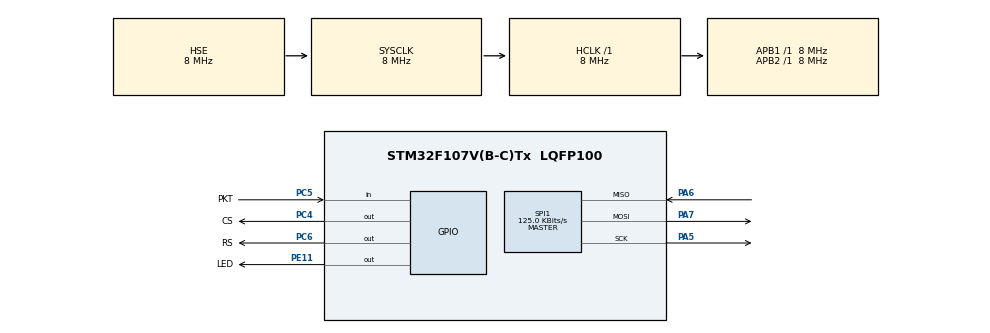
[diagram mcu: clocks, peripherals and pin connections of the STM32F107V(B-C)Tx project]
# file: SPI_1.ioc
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Mcu.Family=STM32F1
Mcu.Name=STM32F107V(B-C)Tx
Mcu.Package=LQFP100
NVIC.PriorityGroup=NVIC_PRIORITYGROUP_4
OSC_IN.Mode=HSE-External-Oscillator
OSC_IN.Signal=RCC_OSC_IN
OSC_OUT.Mode=HSE-External-Oscillator
OSC_OUT.Signal=RCC_OSC_OUT
PA13.Mode=Serial_Wire
PA13.Signal=SYS_JTMS-SWDIO
PA14.Mode=Serial_Wire
PA14.Signal=SYS_JTCK-SWCLK
PA5.Mode=Full_Duplex_Master
PA5.Signal=SPI1_SCK
PA6.Mode=Full_Duplex_Master
PA6.Signal=SPI1_MISO
PA7.Mode=Full_Duplex_Master
PA7.Signal=SPI1_MOSI
PC4.GPIO_Label=CS
PC4.GPIO_PuPd=GPIO_PULLUP
PC4.PinState=GPIO_PIN_SET
PC4.Signal=GPIO_Output
PC5.GPIO_Label=PKT
PC5.Signal=GPIO_Input
PC6.GPIO_Label=RS
PC6.PinState=GPIO_PIN_SET
PC6.Signal=GPIO_Output
PE11.GPIO_Label=LED
PE11.PinState=GPIO_PIN_RESET
PE11.Signal=GPIO_Output
ProjectManager.HeapSize=0x200
ProjectManager.StackSize=0x400
ProjectManager.TargetToolchain=STM32CubeIDE
RCC.AHBFreq_Value=8000000
RCC.APB1Freq_Value=8000000
RCC.APB1TimFreq_Value=8000000
RCC.APB2Freq_Value=8000000
RCC.APB2TimFreq_Value=8000000
RCC.HCLKFreq_Value=8000000
RCC.SYSCLKFreq_VALUE=8000000
RCC.SYSCLKSource=RCC_SYSCLKSOURCE_HSE
RCC.USBFreq_Value=10666666.666666666
SPI1.BaudRatePrescaler=SPI_BAUDRATEPRESCALER_64
SPI1.CLKPhase=SPI_PHASE_2EDGE
SPI1.CLKPolarity=SPI_POLARITY_HIGH
SPI1.CalculateBaudRate=125.0 KBits/s
SPI1.Direction=SPI_DIRECTION_2LINES
SPI1.Mode=SPI_MODE_MASTER
SPI1.VirtualType=VM_MASTER
board=custom

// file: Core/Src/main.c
/* USER CODE BEGIN Header */
/**
  ******************************************************************************
  * @file           : main.c
  * @brief          : Main program body
  ******************************************************************************
  * @attention
  *
  * <h2><center>&copy; Copyright (c) 2020 STMicroelectronics.
  * All rights reserved.</center></h2>
  *
  * This software component is licensed by ST under BSD 3-Clause license,
  * the "License"; You may not use this file except in compliance with the
  * License. You may obtain a copy of the License at:
  *                        opensource.org/licenses/BSD-3-Clause
  *
  ******************************************************************************
  */
/* USER CODE END Header */

#include "main.h"

SPI_HandleTypeDef hspi1;

/* USER CODE BEGIN PV */
uint16_t code;
/* USER CODE END PV */

void SystemClock_Config(void);
static void MX_GPIO_Init(void);
static void MX_SPI1_Init(void);
/* USER CODE BEGIN PFP */
void PL1167_Write(uint8_t address, uint16_t value);
int PL1167_Read(uint8_t address);
void PL1167_Init();
/* USER CODE END PFP */

int main(void)
{

  /* MCU Configuration--------------------------------------------------------*/

  /* Reset of all peripherals, Initializes the Flash interface and the Systick. */
  HAL_Init();

  /* Configure the system clock */
  SystemClock_Config();

  /* Initialize all configured peripherals */
  MX_GPIO_Init();
  MX_SPI1_Init();
  /* USER CODE BEGIN 2 */
 // PL1167_Init();

  HAL_GPIO_WritePin(RS_GPIO_Port, RS_Pin, GPIO_PIN_RESET);
  HAL_Delay(100);
  HAL_GPIO_WritePin(RS_GPIO_Port, RS_Pin, GPIO_PIN_SET);
  PL1167_Init();
  /* USER CODE END 2 */

  /* Infinite loop */
  /* USER CODE BEGIN WHILE */
  while (1)
  {
	  code = PL1167_Read(0x29);
//	  if(HAL_GPIO_ReadPin(PKT_GPIO_Port, PKT_Pin) == 1)
//	  {
//		  code = PL1167_Read(0x32);
//		  while(HAL_GPIO_ReadPin(PKT_GPIO_Port, PKT_Pin) == 1)
//		  {
//
//		  }
//	  }
	  if(code != 0)
	  {
		  HAL_GPIO_WritePin(LED_GPIO_Port, LED_Pin, GPIO_PIN_SET);
	  }
	  else HAL_GPIO_WritePin(LED_GPIO_Port, LED_Pin, GPIO_PIN_RESET);
    /* USER CODE END WHILE */

  }
}

void SystemClock_Config(void)
{
  RCC_OscInitTypeDef RCC_OscInitStruct = {0};
  RCC_ClkInitTypeDef RCC_ClkInitStruct = {0};

  /** Initializes the CPU, AHB and APB busses clocks
  */
  RCC_OscInitStruct.OscillatorType = RCC_OSCILLATORTYPE_HSE;
  RCC_OscInitStruct.HSEState = RCC_HSE_ON;
  RCC_OscInitStruct.PLL.PLLState = RCC_PLL_NONE;
  RCC_OscInitStruct.PLL2.PLL2State = RCC_PLL_NONE;
  if (HAL_RCC_OscConfig(&RCC_OscInitStruct) != HAL_OK)
  {
    Error_Handler();
  }
  /** Initializes the CPU, AHB and APB busses clocks
  */
  RCC_ClkInitStruct.ClockType = RCC_CLOCKTYPE_HCLK|RCC_CLOCKTYPE_SYSCLK
                              |RCC_CLOCKTYPE_PCLK1|RCC_CLOCKTYPE_PCLK2;
  RCC_ClkInitStruct.SYSCLKSource = RCC_SYSCLKSOURCE_HSE;
  RCC_ClkInitStruct.AHBCLKDivider = RCC_SYSCLK_DIV1;
  RCC_ClkInitStruct.APB1CLKDivider = RCC_HCLK_DIV1;
  RCC_ClkInitStruct.APB2CLKDivider = RCC_HCLK_DIV1;

  if (HAL_RCC_ClockConfig(&RCC_ClkInitStruct, FLASH_LATENCY_0) != HAL_OK)
  {
    Error_Handler();
  }
  /** Configure the Systick interrupt time
  */
  __HAL_RCC_PLLI2S_ENABLE();
}

static void MX_SPI1_Init(void)
{

  /* SPI1 parameter configuration*/
  hspi1.Instance = SPI1;
  hspi1.Init.Mode = SPI_MODE_MASTER;
  hspi1.Init.Direction = SPI_DIRECTION_2LINES;
  hspi1.Init.DataSize = SPI_DATASIZE_8BIT;
  hspi1.Init.CLKPolarity = SPI_POLARITY_HIGH;
  hspi1.Init.CLKPhase = SPI_PHASE_2EDGE;
  hspi1.Init.NSS = SPI_NSS_SOFT;
  hspi1.Init.BaudRatePrescaler = SPI_BAUDRATEPRESCALER_64;
  hspi1.Init.FirstBit = SPI_FIRSTBIT_MSB;
  hspi1.Init.TIMode = SPI_TIMODE_DISABLE;
  hspi1.Init.CRCCalculation = SPI_CRCCALCULATION_DISABLE;
  hspi1.Init.CRCPolynomial = 10;
  if (HAL_SPI_Init(&hspi1) != HAL_OK)
  {
    Error_Handler();
  }

}

static void MX_GPIO_Init(void)
{
  GPIO_InitTypeDef GPIO_InitStruct = {0};

  /* GPIO Ports Clock Enable */
  __HAL_RCC_GPIOA_CLK_ENABLE();
  __HAL_RCC_GPIOC_CLK_ENABLE();
  __HAL_RCC_GPIOE_CLK_ENABLE();

  /*Configure GPIO pin Output Level */
  HAL_GPIO_WritePin(GPIOC, CS_Pin|RS_Pin, GPIO_PIN_SET);

  /*Configure GPIO pin Output Level */
  HAL_GPIO_WritePin(LED_GPIO_Port, LED_Pin, GPIO_PIN_RESET);

  /*Configure GPIO pin : CS_Pin */
  GPIO_InitStruct.Pin = CS_Pin;
  GPIO_InitStruct.Mode = GPIO_MODE_OUTPUT_PP;
  GPIO_InitStruct.Pull = GPIO_PULLUP;
  GPIO_InitStruct.Speed = GPIO_SPEED_FREQ_LOW;
  HAL_GPIO_Init(CS_GPIO_Port, &GPIO_InitStruct);

  /*Configure GPIO pin : PKT_Pin */
  GPIO_InitStruct.Pin = PKT_Pin;
  GPIO_InitStruct.Mode = GPIO_MODE_INPUT;
  GPIO_InitStruct.Pull = GPIO_NOPULL;
  HAL_GPIO_Init(PKT_GPIO_Port, &GPIO_InitStruct);

  /*Configure GPIO pin : LED_Pin */
  GPIO_InitStruct.Pin = LED_Pin;
  GPIO_InitStruct.Mode = GPIO_MODE_OUTPUT_PP;
  GPIO_InitStruct.Pull = GPIO_NOPULL;
  GPIO_InitStruct.Speed = GPIO_SPEED_FREQ_LOW;
  HAL_GPIO_Init(LED_GPIO_Port, &GPIO_InitStruct);

  /*Configure GPIO pin : RS_Pin */
  GPIO_InitStruct.Pin = RS_Pin;
  GPIO_InitStruct.Mode = GPIO_MODE_OUTPUT_PP;
  GPIO_InitStruct.Pull = GPIO_NOPULL;
  GPIO_InitStruct.Speed = GPIO_SPEED_FREQ_LOW;
  HAL_GPIO_Init(RS_GPIO_Port, &GPIO_InitStruct);

}

/* USER CODE BEGIN 4 */
void PL1167_Write(uint8_t address, uint16_t value)
{
	uint8_t data[3];
	data[0] = address;
	// thử truy�?n bit cao trc
	data[1] = (value >> 8) | 0x00;
	data[2] = value | 0x00;
//	data[1] = value | 0x00;
//	data[2] = (value >> 8) | 0x00;

	HAL_GPIO_WritePin(CS_GPIO_Port, CS_Pin, GPIO_PIN_RESET);
	HAL_SPI_Transmit(&hspi1, data, 3, 100);
	HAL_GPIO_WritePin(CS_GPIO_Port, CS_Pin, GPIO_PIN_SET);
}

int PL1167_Read(uint8_t address)
{
	uint8_t rec[2];
	HAL_GPIO_WritePin(CS_GPIO_Port, CS_Pin, GPIO_PIN_RESET);
	HAL_SPI_Transmit(&hspi1, &address, 1, 100);
	HAL_SPI_Receive(&hspi1, rec, 2, 100);
	HAL_GPIO_WritePin(CS_GPIO_Port, CS_Pin, GPIO_PIN_SET);
	int data = rec[1];
	data = (data << 8) | rec[0];
	return data;
}

void PL1167_Init()
{
	HAL_GPIO_WritePin(CS_GPIO_Port, CS_Pin, GPIO_PIN_SET);
	HAL_Delay(100);
	// clear RX_FIFO pointer REG_52 0x34:  get 0b0000 000 1000 0000 (0x80)
	PL1167_Write(0x34, 0x0080);
	// Setup REG_7(0x07) for EN_RX mode and RF_CH_SEL
	// bit 7 =1 for EN_RX. bit 8=0. RF_Frequen =2.409Ghz REG_7= 0b0000 0000 1000 0111

	PL1167_Write(0x07, 0x0087);

}
/* USER CODE END 4 */

void Error_Handler(void)
{
}

/************************ (C) COPYRIGHT STMicroelectronics *****END OF FILE****/
